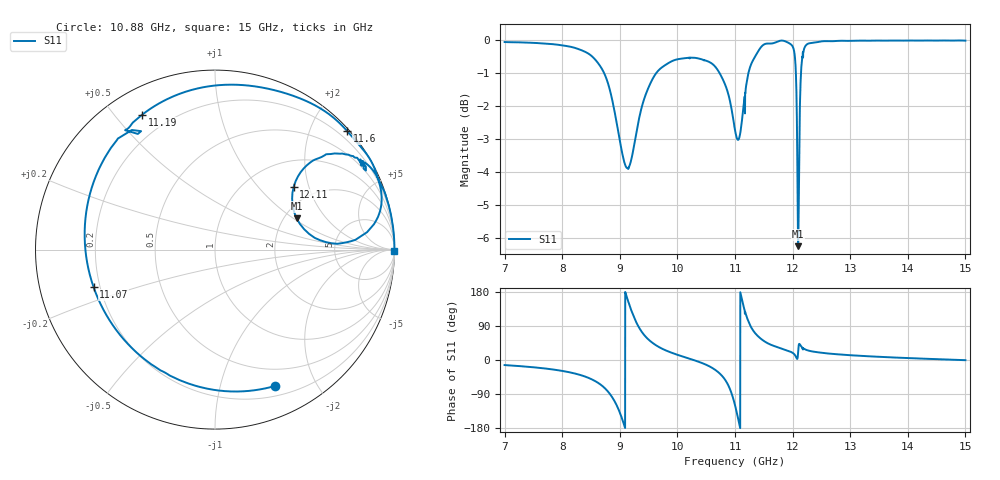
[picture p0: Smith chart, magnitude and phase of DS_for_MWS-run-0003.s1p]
! TOUCHSTONE file generated by CST DESIGN STUDIO
! Date and time: Mon Feb 10 16:52:18 2025
! Project name: C:\Work\MatlabApps\UnitCellType2OptimizationMatlab\CST\unitcell.cst
! Tree item: Tasks\Sweep1\SPara1\S-Parameters
! Header version: 2024
! Port assignment regex: !\s*Touchstone port\s*([0-9]+)\s*=\s*(CST MWS port|CST DES external port|CST DES block port)\s*(.+)\s* \(\"(.*)\"\)(\s*mode\s*([0-9]+))?.*
! Touchstone port assignment:
! Touchstone port 1 = CST DES external port 1 ("")
# GHz S MA R 50
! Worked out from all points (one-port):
!   4001 points, 7 GHz to 15 GHz, reference 50 ohm
!   lowest |S11| = -6.3 dB at 12.1 GHz (marker M1), VSWR 2.90, Z = 117 + j52.9 ohm
!   |S11| at or under -10 dB: nowhere
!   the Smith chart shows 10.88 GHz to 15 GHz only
!   S11 on the Smith chart (normalised r, x): 10.88 GHz: 0.30, -1.49; 11.07 GHz: 0.17, -0.15; 11.19 GHz: 0.11, +0.59; 11.6 GHz: 0.04, +2.61; 12.11 GHz: 1.56, +1.60; 15 GHz: open
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7  0.9945 -13.4
8  0.983 -28.8
8.598  0.9297 -57.9
8.84  0.8324 -92.1
9  0.7048 -138.6
9.134  0.6395 160.2
9.23  0.6786 118.8
9.324  0.7531 88.3
9.596  0.8823 42.1
10  0.9362 13.7
10.604  0.9216 -20.8
10.768  0.8801 -40.7
10.882  0.8297 -66.3
11  0.7313 -119.0
11.066  0.7081 -162.9
11.124  0.7602 157.2
11.194  0.8544 118.3
11.362  0.9496 68.6
11.598  0.9892 41.9
12  0.9794 18.9
12.058  0.8869 8.5
12.096  0.4866 20.9
12.106  0.5623 38.7
12.152  0.9124 35.4
12.27  0.9889 25.0
13  0.9986 12.6
14  0.9998 5.1
15  0.9994 -0.5
